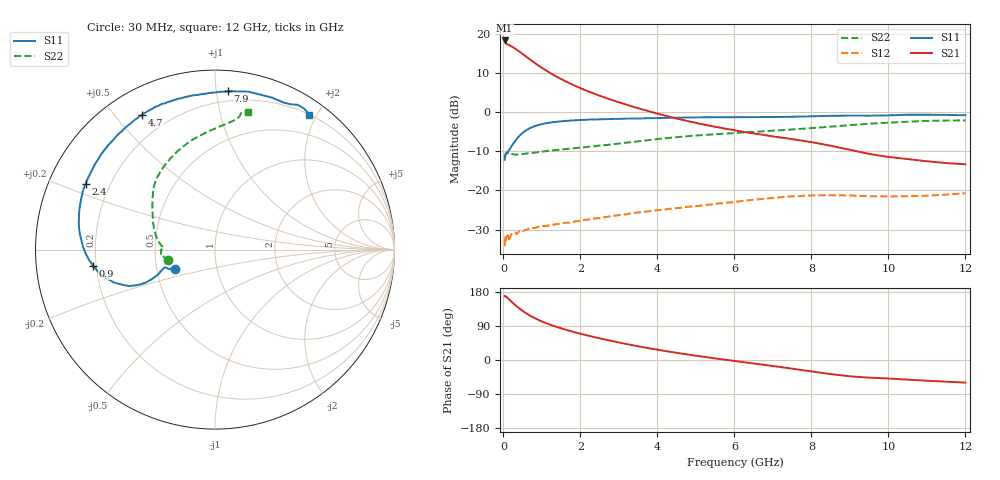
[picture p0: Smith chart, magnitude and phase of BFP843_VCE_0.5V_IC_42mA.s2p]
! Infineon Technologies  Discrete & RF Semiconductors
! BFP843
! VCE =  0.5 V,  IC =  42 mA
! Common Emitter S-Parameters:  Aug 2013
# GHz  S  MA  R  50
!  f  S11  S21  S12  S22
! GHz  MAG  ANG  MAG  ANG  MAG  ANG  MAG  ANG
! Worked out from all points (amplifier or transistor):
!   103 points, 30 MHz to 12 GHz, reference 50 ohm
!   highest |S21| = 18.3 dB at 30 MHz (marker M1)
!   |S21| within 3 dB of that: start of sweep to 434.9 MHz
!   unconditionally stable (mu >= 1): start of sweep to end of sweep
!   at 400 MHz: K = 2.11, MAG = 17.0 dB, |S12| = -30.5 dB
!   at 3.7 GHz: K = 2.44, MAG = 6.3 dB, |S12| = -25.4 dB
!   at 12 GHz: K = 2.11, MAG = -2.3 dB, |S12| = -20.7 dB
!   S11 on the Smith chart (normalised r, x): 30 MHz: 0.63, -0.14; 900 MHz: 0.19, -0.06; 2.4 GHz: 0.11, +0.24; 4.7 GHz: 0.11, +0.59; 7.9 GHz: 0.13, +1.07; 12 GHz: 0.20, +1.90
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0.03  0.2462 -153.9  8.266 168.5  0.0194 24.9  0.2667 -166.9
0.04  0.2661 -156.6  7.96 167.9  0.0224 19.4  0.2817 -169.5
0.05  0.28 -157.1  7.807 168.5  0.0261 26.1  0.2874 -171.8
0.07  0.2926 -160.0  7.534 167.1  0.0254 11.4  0.3 -175.0
0.25  0.3932 -154.9  6.769 150.1  0.0284 14.5  0.2908 178.2
0.4  0.4893 -155.9  6.01 137.1  0.03 14.3  0.2892 177.3
0.5  0.547 -158.8  5.551 129.5  0.0303 15.1  0.2916 177.0
0.7  0.6298 -165.7  4.682 116.5  0.0332 16.3  0.3002 175.5
0.9  0.6844 -172.4  3.984 106.1  0.0343 15.7  0.3088 173.8
1.1  0.7218 -178.4  3.437 97.6  0.035 17.8  0.3181 171.9
1.4  0.757 173.7  2.819 86.7  0.0372 18.3  0.3296 168.9
1.7  0.7788 166.7  2.369 77.5  0.0387 19.0  0.3417 165.7
2.1  0.7987 158.5  1.935 66.7  0.0422 19.6  0.357 161.5
2.4  0.8087 153.0  1.696 59.5  0.0439 19.3  0.3691 158.3
3.2  0.8282 139.2  1.246 42.1  0.0496 19.6  0.4082 148.6
4.1  0.8442 125.6  0.931 25.5  0.0562 17.1  0.4585 139.0
4.7  0.8542 118.3  0.789 15.8  0.061 14.6  0.4894 133.9
6.1  0.8636 105.4  0.577 -3.9  0.0723 8.8  0.5458 121.1
7.9  0.8849 85.4  0.422 -28.6  0.0862 -5.9  0.6221 102.3
8.5  0.8996 78.0  0.373 -37.2  0.0869 -11.9  0.6534 94.6
10.5  0.9286 60.3  0.252 -51.8  0.0844 -21.5  0.7556 79.5
12  0.9158 55.1  0.216 -59.8  0.092 -28.0  0.7869 76.4
